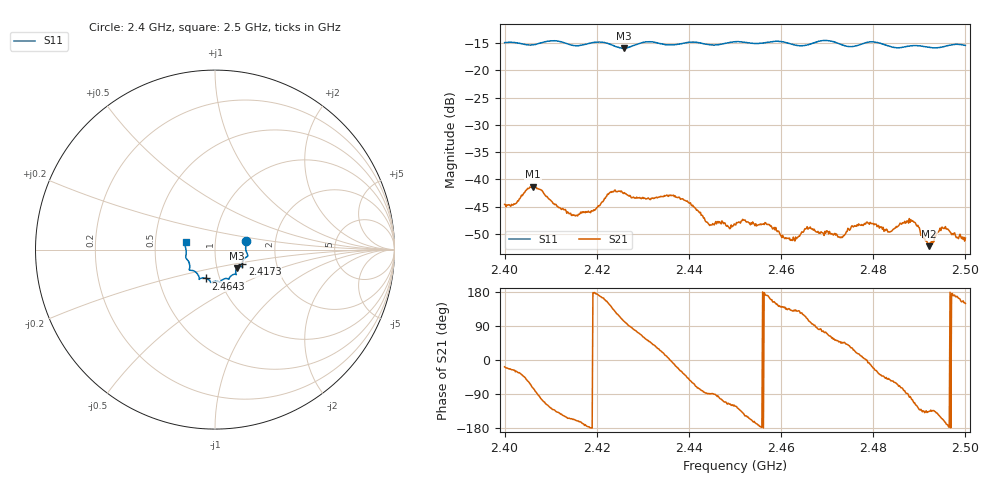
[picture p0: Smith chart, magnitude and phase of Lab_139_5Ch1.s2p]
# Hz S RI R 50
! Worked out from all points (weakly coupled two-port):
!   601 points, 2.4 GHz to 2.5 GHz, reference 50 ohm
!   highest |S21| = -41.35 dB at 2.4062 GHz (marker M1); lowest = -52.2 dB at 2.4922 GHz (marker M2)
!   lowest |S11| = -15.9 dB at 2.4258 GHz (marker M3), VSWR 1.38, Z = 62.3 - j13.2 ohm
!   |S11| at or under -10 dB: start of sweep to end of sweep
!   S12 and S22 are empty: the file has one direction only
!   S11 on the Smith chart (normalised r, x): 2.4 GHz: 1.41, +0.14; 2.4173 GHz: 1.34, -0.23; 2.4643 GHz: 0.86, -0.28; 2.5 GHz: 0.72, +0.06
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2.4e9  0.173 0.0487  0.00561 -0.00183  0 0  0 0
2.406167e9  0.1714 3.21e-05  0.00237 -0.00823  0 0  0 0
2.414e9  0.1662 -0.0474  -0.00433 -0.00217  0 0  0 0
2.416667e9  0.1526 -0.0747  -0.00474 -0.0013  0 0  0 0
2.417333e9  0.1517 -0.0822  -0.00499 -0.000635  0 0  0 0
2.423333e9  0.1426 -0.0939  -0.00566 0.0053  0 0  0 0
2.425833e9  0.122 -0.1034  -0.00164 0.00725  0 0  0 0
2.433333e9  0.1126 -0.1375  0.00595 0.00343  0 0  0 0
2.439167e9  0.0795 -0.1599  0.00491 -0.00412  0 0  0 0
2.4445e9  0.0597 -0.1611  4.44e-05 -0.00378  0 0  0 0
2.45e9  0.0289 -0.181  -0.00203 -0.00328  0 0  0 0
2.457e9  -0.0141 -0.1803  -0.0038 0.000645  0 0  0 0
2.4625e9  -0.0329 -0.1697  -0.00174 0.00214  0 0  0 0
2.464333e9  -0.0498 -0.1604  -0.00179 0.00264  0 0  0 0
2.466667e9  -0.0759 -0.1592  -0.000322 0.00349  0 0  0 0
2.472833e9  -0.0904 -0.1486  0.00195 0.00218  0 0  0 0
2.4785e9  -0.1386 -0.115  0.00403 -3.64e-05  0 0  0 0
2.483333e9  -0.1405 -0.0898  0.00218 -0.00249  0 0  0 0
2.488333e9  -0.1611 -0.0485  -0.00102 -0.00402  0 0  0 0
2.492167e9  -0.1608 -0.0237  -0.00174 -0.00172  0 0  0 0
2.495333e9  -0.1647 0.013  -0.00333 -0.00122  0 0  0 0
2.5e9  -0.164 0.0425  -0.00249 0.00148  0 0  0 0
